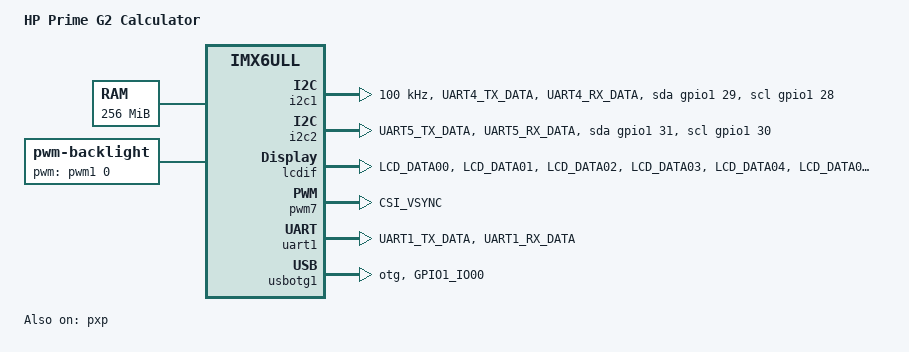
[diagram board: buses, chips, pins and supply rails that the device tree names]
/*
 * Copyright (C) 2016 Freescale Semiconductor, Inc.
 *
 * This program is free software; you can redistribute it and/or modify
 * it under the terms of the GNU General Public License version 2 as
 * published by the Free Software Foundation.
 */

/dts-v1/;

#include "imx6ull.dtsi"

/ {
	model = "HP Prime G2 Calculator";
	compatible = "fsl,imx6ull-prime", "fsl,imx6ull";

	chosen {
		stdout-path = &uart1;
	};

	memory {
		reg = <0x80000000 0x10000000>;
	};

	reserved-memory {
		#address-cells = <1>;
		#size-cells = <1>;
		ranges;

		linux,cma {
			compatible = "shared-dma-pool";
			reusable;
			size = <0x14000000>;
			linux,cma-default;
		};
	};

	backlight {
		compatible = "pwm-backlight";
		pwms = <&pwm1 0 5000000>;
		brightness-levels = <0 4 8 16 32 64 128 255>;
		default-brightness-level = <6>;
		status = "okay";
	};

	pxp_v4l2 {
		compatible = "fsl,imx6ul-pxp-v4l2", "fsl,imx6sx-pxp-v4l2", "fsl,imx6sl-pxp-v4l2";
		status = "okay";
	};
};

&cpu0 {
	arm-supply = <&reg_arm>;
	soc-supply = <&reg_soc>;
};
&gpc {
	fsl,cpu_pupscr_sw2iso = <0x1>;
	fsl,cpu_pupscr_sw = <0x0>;
	fsl,cpu_pdnscr_iso2sw = <0x1>;
	fsl,cpu_pdnscr_iso = <0x1>;
	fsl,ldo-bypass = <0>; /* DCDC, ldo-enable */
};

&i2c1 {
	clock-frequency = <100000>;
	pinctrl-names = "default", "gpio";
	pinctrl-0 = <&pinctrl_i2c1>;
	scl-gpios = <&gpio1 28 GPIO_ACTIVE_HIGH>;
	sda-gpios = <&gpio1 29 GPIO_ACTIVE_HIGH>;
	status = "okay";

};

&i2c2 {
	clock_frequency = <100000>;
	pinctrl-names = "default", "gpio";
	pinctrl-0 = <&pinctrl_i2c2>;
	scl-gpios = <&gpio1 30 GPIO_ACTIVE_HIGH>;
	sda-gpios = <&gpio1 31 GPIO_ACTIVE_HIGH>;
	status = "okay";
};

&iomuxc {
	pinctrl-names = "default";
	pinctrl-0 = <&pinctrl_hog_1>;
	imx6ul-evk {
		pinctrl_hog_1: hoggrp-1 {
			fsl,pins = <
				MX6UL_PAD_LCD_RESET__GPIO3_IO04 0x17059
				MX6UL_PAD_SD1_DATA3__GPIO2_IO21 0x17059 /* LCD BL BAT EN */
				MX6UL_PAD_UART3_TX_DATA__GPIO1_IO24 0x17059 /* RST */
				MX6UL_PAD_UART3_RX_DATA__GPIO1_IO25 0x1b0b0 /* IRQ */
			>;
		};

		pinctrl_gpmi_nand_1: gpmi-nand-1 {
			fsl,pins = <
				MX6UL_PAD_NAND_CLE__RAWNAND_CLE         0xb0b1
				MX6UL_PAD_NAND_ALE__RAWNAND_ALE         0xb0b1
				MX6UL_PAD_NAND_WP_B__RAWNAND_WP_B       0xb0b1
				MX6UL_PAD_NAND_READY_B__RAWNAND_READY_B 0xb000
				MX6UL_PAD_NAND_CE0_B__RAWNAND_CE0_B     0xb0b1
				MX6UL_PAD_NAND_CE1_B__RAWNAND_CE1_B     0xb0b1
				MX6UL_PAD_NAND_RE_B__RAWNAND_RE_B       0xb0b1
				MX6UL_PAD_NAND_WE_B__RAWNAND_WE_B       0xb0b1
				MX6UL_PAD_NAND_DATA00__RAWNAND_DATA00   0xb0b1
				MX6UL_PAD_NAND_DATA01__RAWNAND_DATA01   0xb0b1
				MX6UL_PAD_NAND_DATA02__RAWNAND_DATA02   0xb0b1
				MX6UL_PAD_NAND_DATA03__RAWNAND_DATA03   0xb0b1
				MX6UL_PAD_NAND_DATA04__RAWNAND_DATA04   0xb0b1
				MX6UL_PAD_NAND_DATA05__RAWNAND_DATA05   0xb0b1
				MX6UL_PAD_NAND_DATA06__RAWNAND_DATA06   0xb0b1
				MX6UL_PAD_NAND_DATA07__RAWNAND_DATA07   0xb0b1
			>;
		};

		pinctrl_leds: ledsgrp {
			fsl,pins = <
				MX6UL_PAD_GPIO1_IO02__GPIO1_IO02 0x17059
			>;
		};

		pinctrl_i2c1: i2c1grp {
			fsl,pins = <
				MX6UL_PAD_UART4_TX_DATA__I2C1_SCL 0x4001b8b0
				MX6UL_PAD_UART4_RX_DATA__I2C1_SDA 0x4001b8b0
			>;
		};

		pinctrl_i2c2: i2c2grp {
			fsl,pins = <
				MX6UL_PAD_UART5_TX_DATA__I2C2_SCL 0x4001b8b0
				MX6UL_PAD_UART5_RX_DATA__I2C2_SDA 0x4001b8b0
			>;
		};

		pinctrl_kpp_1: kpp1grp {
			fsl,pins = <
				MX6UL_PAD_ENET1_RX_EN__KPP_ROW01	0x1b010
				MX6UL_PAD_ENET1_TX_DATA1__KPP_ROW02	0x1b010
				MX6UL_PAD_ENET1_TX_CLK__KPP_ROW03	0x1b010
				MX6UL_PAD_ENET2_RX_DATA0__KPP_ROW04	0x1b010	
				MX6UL_PAD_ENET2_RX_EN__KPP_ROW05	0x1b010
				MX6UL_PAD_ENET2_TX_DATA1__KPP_ROW06	0x1b010
				MX6UL_PAD_ENET2_TX_CLK__KPP_ROW07	0x1b010
				MX6UL_PAD_ENET1_RX_DATA1__KPP_COL00	0x110b0
				MX6UL_PAD_ENET1_TX_DATA0__KPP_COL01	0x110b0
				MX6UL_PAD_ENET1_TX_EN__KPP_COL02	0x110b0
				MX6UL_PAD_ENET1_RX_ER__KPP_COL03	0x110b0
				MX6UL_PAD_ENET2_RX_DATA1__KPP_COL04	0x110b0
				MX6UL_PAD_ENET2_TX_DATA0__KPP_COL05	0x110b0
				MX6UL_PAD_ENET2_TX_EN__KPP_COL06	0x110b0
				MX6UL_PAD_ENET2_RX_ER__KPP_COL07	0x110b0
			>;
		};

		pinctrl_lcdif_dat: lcdifdatgrp {
			fsl,pins = <
				MX6UL_PAD_LCD_DATA00__LCDIF_DATA00  0x79
				MX6UL_PAD_LCD_DATA01__LCDIF_DATA01  0x79
				MX6UL_PAD_LCD_DATA02__LCDIF_DATA02  0x79
				MX6UL_PAD_LCD_DATA03__LCDIF_DATA03  0x79
				MX6UL_PAD_LCD_DATA04__LCDIF_DATA04  0x79
				MX6UL_PAD_LCD_DATA05__LCDIF_DATA05  0x79
				MX6UL_PAD_LCD_DATA06__LCDIF_DATA06  0x79
				MX6UL_PAD_LCD_DATA07__LCDIF_DATA07  0x79
			>;
		};

		pinctrl_lcdif_ctrl: lcdifctrlgrp {
			fsl,pins = <
				MX6UL_PAD_LCD_CLK__LCDIF_CLK	    0x79
				MX6UL_PAD_LCD_ENABLE__LCDIF_ENABLE  0x79
				MX6UL_PAD_LCD_HSYNC__LCDIF_HSYNC    0x79
				MX6UL_PAD_LCD_VSYNC__LCDIF_VSYNC    0x79
			>;
		};

		pinctrl_pf1550: pf1550 {
			fsl,pins = <
				MX6UL_PAD_SNVS_TAMPER4__GPIO5_IO04      0x80000000
			>;
		};

		pinctrl_pwm7: pwm7grp {
			fsl,pins = <
				MX6UL_PAD_CSI_VSYNC__PWM7_OUT   0x110b0
			>;
		};

		pinctrl_uart1: uart1grp {
			fsl,pins = <
				MX6UL_PAD_UART1_TX_DATA__UART1_DCE_TX 0x1b0b1
				MX6UL_PAD_UART1_RX_DATA__UART1_DCE_RX 0x1b0b1
			>;
		};

		pinctrl_spi2: spi2grp {
			fsl,pins = <
				MX6UL_PAD_CSI_DATA00__GPIO4_IO21	0x70a1
				MX6UL_PAD_CSI_DATA01__GPIO4_IO22	0x70a1
				MX6UL_PAD_CSI_DATA02__GPIO4_IO23	0x70a1
			>;
		};

		pinctrl_usb_otg1_id: usbotg1idgrp {
			fsl,pins = <
				MX6UL_PAD_GPIO1_IO00__ANATOP_OTG1_ID	0x17059
			>;
		};
	};
};

&lcdif {
	pinctrl-names = "default";
	pinctrl-0 = <&pinctrl_lcdif_dat
		     &pinctrl_lcdif_ctrl>;
	display = <&display0>;
	status = "okay";

	display0: display {
		bits-per-pixel = <24>;
		bus-width = <8>;

		display-timings {
			native-mode = <&timing0>;
			timing0: timing0 {
				clock-frequency = <18000000>;
				hactive = <320>;
				vactive = <240>;
				hfront-porch = <100>;
				hback-porch = <71>;
				hsync-len = <1>;
				vback-porch = <17>;
				vfront-porch = <6>;
				vsync-len = <1>;

				hsync-active = <0>;
				vsync-active = <0>;
				de-active = <1>;
				pixelclk-active = <1>;
			};
		};
	};
};

&pwm7 {
	pinctrl-names = "default";
	pinctrl-0 = <&pinctrl_pwm7>;
	status = "okay";
};

&pxp {
	status = "okay";
};

&uart1 {
	pinctrl-names = "default";
	pinctrl-0 = <&pinctrl_uart1>;
	status = "okay";
};

&usbotg1 {
	pinctrl-names = "default";
	pinctrl-0 = <&pinctrl_usb_otg1_id>;
	dr_mode = "otg";
	srp-disable;
	hnp-disable;
	adp-disable;
	status = "okay";
};

&usbphy1 {
	tx-d-cal = <0x5>;
};

&wdog1 {
	status = "disabled";
};
